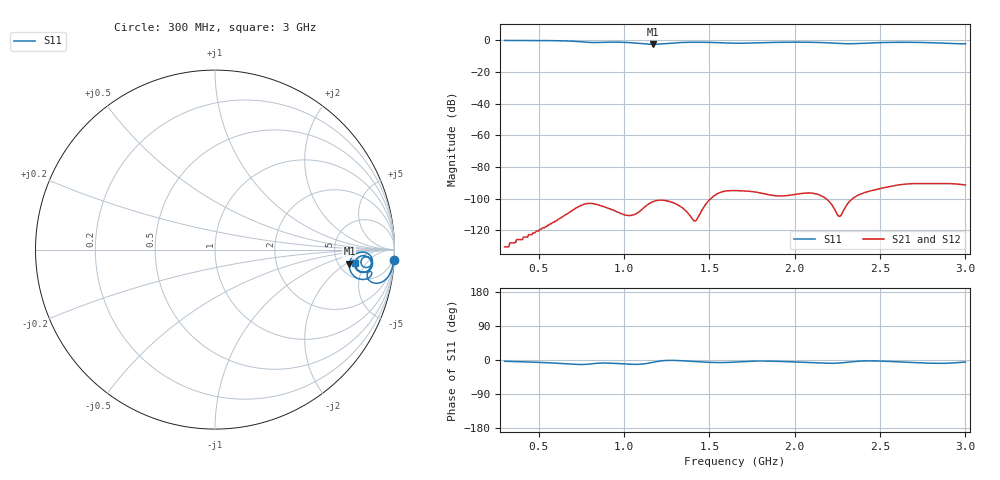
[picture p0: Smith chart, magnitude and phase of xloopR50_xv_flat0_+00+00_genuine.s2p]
! xloopR50_xv_flat0_+00+00_genuine, gap C 0.80 pF
! simulated by sim/fixtures_fdtd.py (S12 = S21, S22 not computed)
# HZ S RI R 50
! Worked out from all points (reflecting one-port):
!   541 points, 300 MHz to 3 GHz, reference 50 ohm
!   lowest |S11| = -2.5 dB at 1.17 GHz (marker M1), VSWR 7.09, Z = 313 - j113 ohm
!   phase of S11 starts at -3 deg and turns -2 deg over the sweep
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3e8  0.9966 -0.0577  -0 -3e-07  -0 -3e-07  0 0
6e8  0.9706 -0.1422  -1.2e-06 -1.6e-06  -1.2e-06 -1.6e-06  0 0
7.5e8  0.8861 -0.1864  -6.1e-06 8e-07  -6.1e-06 8e-07  0 0
8.1e8  0.8479 -0.1511  -4.4e-06 5.5e-06  -4.4e-06 5.5e-06  0 0
8.75e8  0.8625 -0.1216  -3e-07 5.7e-06  -3e-07 5.7e-06  0 0
9.7e8  0.8683 -0.1469  1.5e-06 3.3e-06  1.5e-06 3.3e-06  0 0
1.07e9  0.8057 -0.1642  4e-07 3.3e-06  4e-07 3.3e-06  0 0
1.17e9  0.7488 -0.0785  4.5e-06 6.7e-06  4.5e-06 6.7e-06  0 0
1.2e9  0.7612 -0.0458  7.2e-06 5.3e-06  7.2e-06 5.3e-06  0 0
1.275e9  0.8226 -0.0139  7.8e-06 -1.1e-06  7.8e-06 -1.1e-06  0 0
1.395e9  0.8758 -0.0533  2.1e-06 -1.4e-06  2.1e-06 -1.4e-06  0 0
1.535e9  0.8508 -0.099  1.31e-05 -1.2e-06  1.31e-05 -1.2e-06  0 0
1.65e9  0.8136 -0.0764  3.7e-06 -1.77e-05  3.7e-06 -1.77e-05  0 0
1.82e9  0.8513 -0.0409  -1.27e-05 -6.6e-06  -1.27e-05 -6.6e-06  0 0
2.1e9  0.8665 -0.1087  -8.2e-06 1.25e-05  -8.2e-06 1.25e-05  0 0
2.215e9  0.8189 -0.1249  2.6e-06 6.1e-06  2.6e-06 6.1e-06  0 0
2.31e9  0.7817 -0.0805  -5.3e-06 4.5e-06  -5.3e-06 4.5e-06  0 0
2.415e9  0.8189 -0.0345  -2e-06 1.58e-05  -2e-06 1.58e-05  0 0
2.55e9  0.8652 -0.0561  1.67e-05 1.69e-05  1.67e-05 1.69e-05  0 0
2.69e9  0.867 -0.0994  2.88e-05 -7.6e-06  2.88e-05 -7.6e-06  0 0
2.825e9  0.8273 -0.1271  1.09e-05 -2.82e-05  1.09e-05 -2.82e-05  0 0
3e9  0.7797 -0.0719  -2.03e-05 -1.8e-05  -2.03e-05 -1.8e-05  0 0
